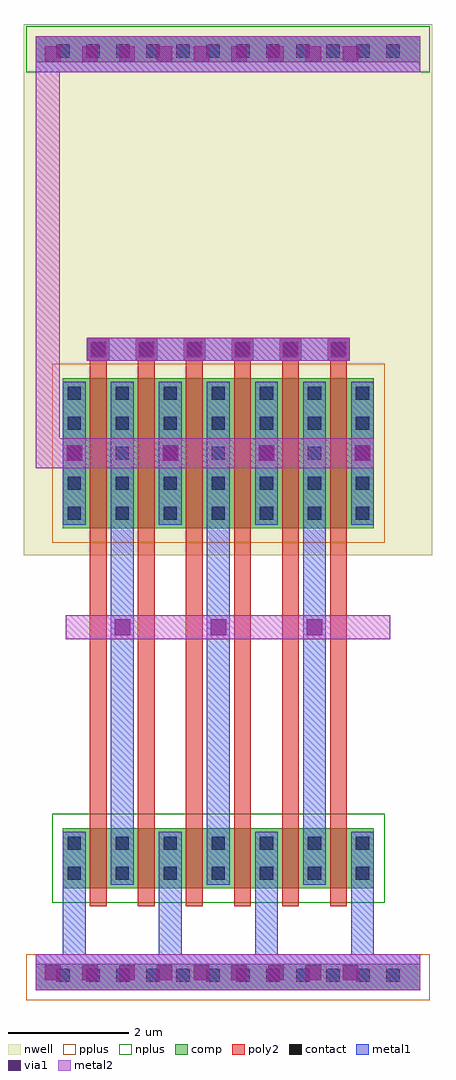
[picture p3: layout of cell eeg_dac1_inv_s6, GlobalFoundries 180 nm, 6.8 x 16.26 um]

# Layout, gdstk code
import gdstk
lib = gdstk.Library(unit=1e-6, precision=1e-09)
def R(c, l, rs):  # rectangles x0, y0, x1, y1
    for r in rs: c.add(gdstk.rectangle(r[:2], r[2:], *l))
def A(c, l, x, y, w, h, nx, ny, dx, dy):  # array of equal rectangles
    R(c, l, [(x+i*dx, y+j*dy, x+i*dx+w, y+j*dy+h) for i in range(nx) for j in range(ny)])
nwell = (21, 0)
comp = (22, 0)
poly2 = (30, 0)
pplus = (31, 0)
nplus = (32, 0)
contact = (33, 0)
metal1 = (34, 0)
via1 = (35, 0)
metal2 = (36, 0)

eeg_dac1_inv_s6 = lib.new_cell('eeg_dac1_inv_s6')
R(eeg_dac1_inv_s6, nwell, [(-0.2,7.25,6.6,16.1)])
R(eeg_dac1_inv_s6, comp, [(0,0,6.4,0.44), (0.45,1.7,5.63,2.7), (0.45,7.7,5.63,10.2), (0,15.46,6.4,15.9)])
A(eeg_dac1_inv_s6, poly2, 0.9, 1.4, 0.28, 6.3, 6, 1, 0.8, 0)
A(eeg_dac1_inv_s6, poly2, 0.9, 7.4, 0.28, 3.46, 6, 1, 0.8, 0)
A(eeg_dac1_inv_s6, poly2, 0.86, 10.5, 0.36, 0.36, 6, 1, 0.8, 0)
R(eeg_dac1_inv_s6, pplus, [(-0.16,-0.16,6.56,0.6), (0.27,7.46,5.81,10.44)])
R(eeg_dac1_inv_s6, nplus, [(0.27,1.46,5.81,2.94), (-0.16,15.3,6.56,16.06)])
A(eeg_dac1_inv_s6, contact, 0.34, 0.14, 0.22, 0.22, 12, 2, 0.5, 15.4)
A(eeg_dac1_inv_s6, contact, 0.53, 1.84, 0.22, 0.22, 7, 2, 0.8, 0.5)
A(eeg_dac1_inv_s6, contact, 0.53, 7.84, 0.22, 0.22, 7, 5, 0.8, 0.5)
A(eeg_dac1_inv_s6, contact, 0.93, 10.57, 0.22, 0.22, 6, 1, 0.8, 0)
A(eeg_dac1_inv_s6, metal1, 0.45, 0.3, 0.38, 2.34, 4, 1, 1.6, 0)
A(eeg_dac1_inv_s6, metal1, 1.25, 1.76, 0.38, 4.49, 3, 1, 1.6, 0)
A(eeg_dac1_inv_s6, metal1, 1.25, 5.85, 0.38, 4.29, 3, 1, 1.6, 0)
A(eeg_dac1_inv_s6, metal1, 0.45, 7.76, 0.38, 2.38, 4, 1, 1.6, 0)
R(eeg_dac1_inv_s6, metal1, [(0,0,6.4,0.6), (0,0,6.4,0.44), (0.85,10.49,5.23,10.87), (0,15.3,6.4,15.9), (0,15.46,6.4,15.9)])
A(eeg_dac1_inv_s6, via1, 0.15, 0.17, 0.26, 0.26, 9, 2, 0.62, 15.3)
A(eeg_dac1_inv_s6, via1, 0.51, 8.82, 0.26, 0.26, 4, 1, 1.6, 0)
A(eeg_dac1_inv_s6, via1, 0.91, 10.55, 0.26, 0.26, 6, 1, 0.8, 0)
R(eeg_dac1_inv_s6, via1, [(1.31,5.92,1.57,6.18), (1.31,5.92,1.57,6.18), (2.91,5.92,3.17,6.18), (2.91,5.92,3.17,6.18), (4.51,5.92,4.77,6.18), (4.51,5.92,4.77,6.18)])
R(eeg_dac1_inv_s6, metal2, [(0,0,6.4,0.6), (0.5,5.85,5.9,6.25), (0,8.7,5.63,9.2), (0,8.7,0.4,15.3), (0.85,10.49,5.23,10.87), (0,15.3,6.4,15.9)])

lib.write_gds('eeg_dac1_inv_s6.gds')
